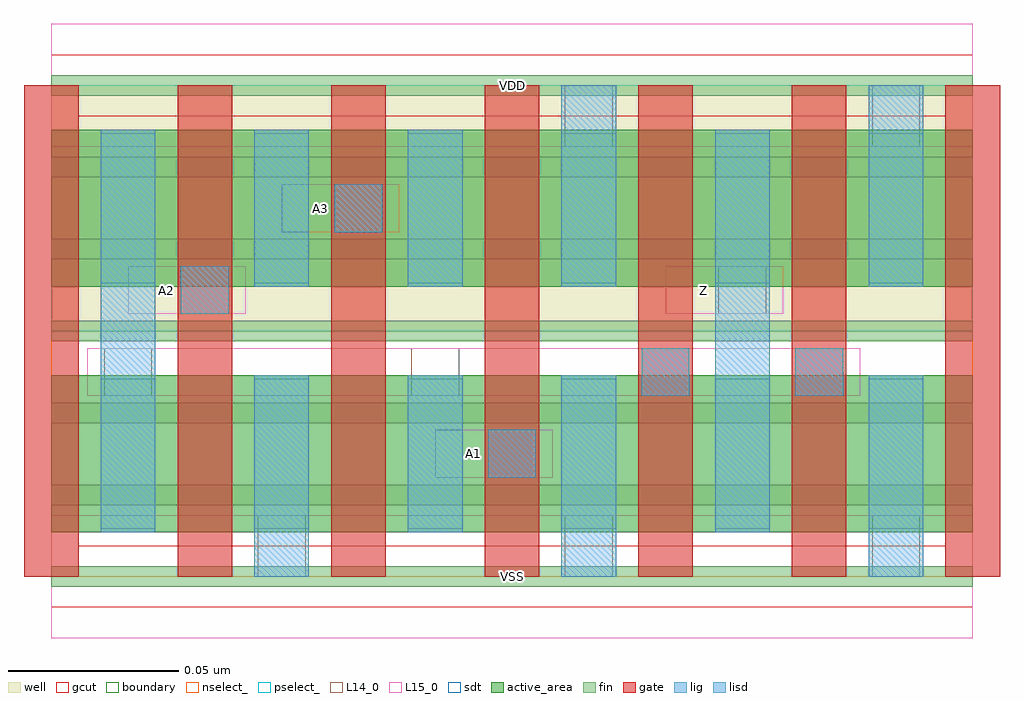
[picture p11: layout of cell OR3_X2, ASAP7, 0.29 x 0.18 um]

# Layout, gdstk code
import gdstk
lib = gdstk.Library(unit=1e-6, precision=2.5e-10)
def R(c, l, rs):  # rectangles x0, y0, x1, y1
    for r in rs: c.add(gdstk.rectangle(r[:2], r[2:], *l))
def A(c, l, x, y, w, h, nx, ny, dx, dy):  # array of equal rectangles
    R(c, l, [(x+i*dx, y+j*dy, x+i*dx+w, y+j*dy+h) for i in range(nx) for j in range(ny)])
def P(c, l, *ps):  # polygons
    for p in ps: c.add(gdstk.Polygon(p, *l))
well = (1, 0)
fin = (2, 0)
gate = (7, 0)
gcut = (10, 0)
active_area = (11, 0)
nselect_ = (12, 0)
pselect_ = (13, 0)
L14_0 = (14, 0)
L15_0 = (15, 0)
lig = (16, 0)
lisd = (17, 0)
sdt = (88, 0)
boundary = (100, 0)

or3_x2 = lib.new_cell('OR3_X2')
R(or3_x2, well, [(0,0.072,0.27,0.144)])
A(or3_x2, fin, 0, -0.003, 0.27, 0.006, 1, 7, 0, 0.024)
A(or3_x2, gate, -0.008, 0, 0.016, 0.144, 7, 1, 0.045, 0)
P(or3_x2, gcut, [(0,-0.009),(0,0),(-0.008,0),(-0.008,0.135),(0.008,0.135),(0.008,0.009),(0.262,0.009),(0.262,0.135),(-0.008,0.135),(-0.008,0.144),(0,0.144),(0,0.153),(0.27,0.153),(0.27,0.144),(0.278,0.144),(0.278,0),(0.27,0),(0.27,-0.009)])
R(or3_x2, active_area, [(0,0.013,0.27,0.059), (0,0.085,0.27,0.131)])
R(or3_x2, nselect_, [(0,0,0.27,0.072)])
R(or3_x2, pselect_, [(0,0.072,0.27,0.144)])
A(or3_x2, L14_0, 0.0605, 0, 0.014, 0.018, 3, 1, 0.09, 0)
R(or3_x2, L14_0, [(0.128,0.029,0.142,0.043), (0.0155,0.053,0.0295,0.067), (0.1055,0.053,0.1195,0.067), (0.173,0.053,0.187,0.067), (0.218,0.053,0.232,0.067), (0.038,0.077,0.052,0.091), (0.1955,0.077,0.2095,0.091), (0.083,0.101,0.097,0.115), (0.1505,0.126,0.1645,0.144), (0.2405,0.126,0.2545,0.144)])
R(or3_x2, L15_0, [(0,-0.018,0.27,0.018), (0.1125,0.029,0.147,0.043), (0.0105,0.053,0.237,0.067), (0.0225,0.077,0.057,0.091), (0.18,0.077,0.2145,0.091), (0.0675,0.101,0.102,0.115), (0,0.126,0.27,0.162)])
R(or3_x2, lig, [(0.128,0.029,0.142,0.043), (0.173,0.053,0.187,0.067), (0.218,0.053,0.232,0.067), (0.038,0.077,0.052,0.091), (0.083,0.101,0.097,0.115)])
A(or3_x2, lisd, 0.0595, 0, 0.016, 0.059, 3, 1, 0.09, 0)
R(or3_x2, lisd, [(0.0145,0.013,0.0305,0.131), (0.1045,0.013,0.1205,0.059), (0.1945,0.013,0.2105,0.131), (0.0595,0.085,0.0755,0.131), (0.1045,0.085,0.1205,0.131), (0.1495,0.085,0.1655,0.144), (0.2395,0.085,0.2555,0.144)])
A(or3_x2, sdt, 0.0145, 0.014, 0.016, 0.044, 6, 2, 0.045, 0.072)
R(or3_x2, boundary, [(0,0,0.27,0.144)])
or3_x2.add(gdstk.Label('A3', (0.0788,0.108), layer=15, texttype=251))
or3_x2.add(gdstk.Label('VSS', (0.135,0), layer=15, texttype=251))
or3_x2.add(gdstk.Label('VDD', (0.135,0.144), layer=15, texttype=251))
or3_x2.add(gdstk.Label('A2', (0.0338,0.084), layer=15, texttype=251))
or3_x2.add(gdstk.Label('VSS', (0.135,0), layer=15, texttype=251))
or3_x2.add(gdstk.Label('VDD', (0.135,0.144), layer=15, texttype=251))
or3_x2.add(gdstk.Label('A1', (0.1238,0.036), layer=15, texttype=251))
or3_x2.add(gdstk.Label('VSS', (0.135,0), layer=15, texttype=251))
or3_x2.add(gdstk.Label('VDD', (0.135,0.144), layer=15, texttype=251))
or3_x2.add(gdstk.Label('Z', (0.1913,0.084), layer=15, texttype=251))
or3_x2.add(gdstk.Label('VSS', (0.135,0), layer=15, texttype=251))
or3_x2.add(gdstk.Label('VDD', (0.135,0.144), layer=15, texttype=251))
or3_x2.add(gdstk.Label('VSS', (0.135,0), layer=3, texttype=251))
or3_x2.add(gdstk.Label('VSS', (0.135,0), layer=3, texttype=251))
or3_x2.add(gdstk.Label('VSS', (0.135,0), layer=3, texttype=251))
or3_x2.add(gdstk.Label('VSS', (0.135,0), layer=3, texttype=251))
or3_x2.add(gdstk.Label('VDD', (0.135,0.144), layer=1, texttype=251))
or3_x2.add(gdstk.Label('VDD', (0.135,0.144), layer=1, texttype=251))
or3_x2.add(gdstk.Label('VDD', (0.135,0.144), layer=1, texttype=251))
or3_x2.add(gdstk.Label('VDD', (0.135,0.144), layer=1, texttype=251))

lib.write_gds('OR3_X2.gds')
